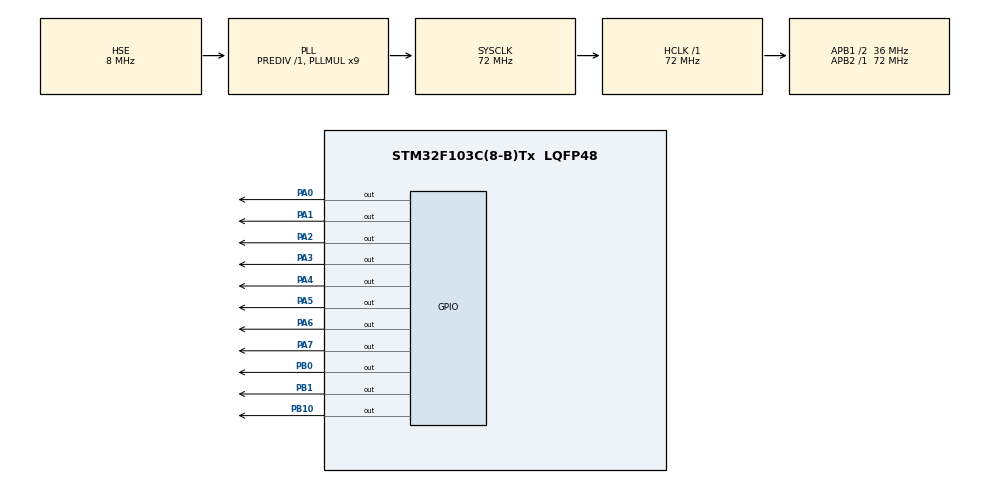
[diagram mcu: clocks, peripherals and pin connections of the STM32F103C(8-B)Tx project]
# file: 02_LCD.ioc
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Mcu.Family=STM32F1
Mcu.Name=STM32F103C(8-B)Tx
Mcu.Package=LQFP48
NVIC.PriorityGroup=NVIC_PRIORITYGROUP_4
PA0-WKUP.Signal=GPIO_Output
PA1.Signal=GPIO_Output
PA13.Mode=Serial_Wire
PA13.Signal=SYS_JTMS-SWDIO
PA14.Mode=Serial_Wire
PA14.Signal=SYS_JTCK-SWCLK
PA2.Signal=GPIO_Output
PA3.Signal=GPIO_Output
PA4.Signal=GPIO_Output
PA5.Signal=GPIO_Output
PA6.Signal=GPIO_Output
PA7.Signal=GPIO_Output
PB0.Signal=GPIO_Output
PB1.Signal=GPIO_Output
PB10.Signal=GPIO_Output
PD0-OSC_IN.Mode=HSE-External-Oscillator
PD0-OSC_IN.Signal=RCC_OSC_IN
PD1-OSC_OUT.Mode=HSE-External-Oscillator
PD1-OSC_OUT.Signal=RCC_OSC_OUT
ProjectManager.HeapSize=0x200
ProjectManager.StackSize=0x400
ProjectManager.TargetToolchain=MDK-ARM V5.32
RCC.AHBFreq_Value=72000000
RCC.APB1CLKDivider=RCC_HCLK_DIV2
RCC.APB1Freq_Value=36000000
RCC.APB1TimFreq_Value=72000000
RCC.APB2Freq_Value=72000000
RCC.APB2TimFreq_Value=72000000
RCC.HCLKFreq_Value=72000000
RCC.PLLMUL=RCC_PLL_MUL9
RCC.PLLSourceVirtual=RCC_PLLSOURCE_HSE
RCC.SYSCLKFreq_VALUE=72000000
RCC.SYSCLKSource=RCC_SYSCLKSOURCE_PLLCLK
RCC.USBFreq_Value=72000000
board=custom

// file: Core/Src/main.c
/* USER CODE BEGIN Header */
/**
  ******************************************************************************
  * @file           : main.c
  * @brief          : Main program body
  ******************************************************************************
  * @attention
  *
  * Copyright (c) 2025 STMicroelectronics.
  * All rights reserved.
  *
  * This software is licensed under terms that can be found in the LICENSE file
  * in the root directory of this software component.
  * If no LICENSE file comes with this software, it is provided AS-IS.
  *
  ******************************************************************************
  */
/* USER CODE END Header */
#include "main.h"

/* USER CODE BEGIN Includes */
#include "LCD.h"
/* USER CODE END Includes */

void SystemClock_Config(void);
static void MX_GPIO_Init(void);

int main(void)
{

  /* USER CODE BEGIN 1 */
	// Config LCD struct
	myLCD.PORT_DATA = GPIOA;
	myLCD.PORT_R = GPIOB;
	myLCD.D0 = GPIO_PIN_0;
	myLCD.D1 = GPIO_PIN_1;
	myLCD.D2 = GPIO_PIN_2;
	myLCD.D3 = GPIO_PIN_3;
	myLCD.D4 = GPIO_PIN_4;
	myLCD.D5 = GPIO_PIN_5;
	myLCD.D6 = GPIO_PIN_6;
	myLCD.D7 = GPIO_PIN_7;
	myLCD.RS = GPIO_PIN_0;
	myLCD.RW = GPIO_PIN_1;
	myLCD.E = GPIO_PIN_10;
  /* USER CODE END 1 */

  /* MCU Configuration--------------------------------------------------------*/

  /* Reset of all peripherals, Initializes the Flash interface and the Systick. */
  HAL_Init();

  /* Configure the system clock */
  SystemClock_Config();

  /* Initialize all configured peripherals */
  MX_GPIO_Init();
  /* USER CODE BEGIN 2 */
  LCD_init();
	LCD_Print("VO QUANG VINH");

	/* USER CODE END 2 */

  /* Infinite loop */
  while (1)
  {

  }
}

void SystemClock_Config(void)
{
  RCC_OscInitTypeDef RCC_OscInitStruct = {0};
  RCC_ClkInitTypeDef RCC_ClkInitStruct = {0};

  /** Initializes the RCC Oscillators according to the specified parameters
  * in the RCC_OscInitTypeDef structure.
  */
  RCC_OscInitStruct.OscillatorType = RCC_OSCILLATORTYPE_HSE;
  RCC_OscInitStruct.HSEState = RCC_HSE_ON;
  RCC_OscInitStruct.HSEPredivValue = RCC_HSE_PREDIV_DIV1;
  RCC_OscInitStruct.HSIState = RCC_HSI_ON;
  RCC_OscInitStruct.PLL.PLLState = RCC_PLL_ON;
  RCC_OscInitStruct.PLL.PLLSource = RCC_PLLSOURCE_HSE;
  RCC_OscInitStruct.PLL.PLLMUL = RCC_PLL_MUL9;
  if (HAL_RCC_OscConfig(&RCC_OscInitStruct) != HAL_OK)
  {
    Error_Handler();
  }

  /** Initializes the CPU, AHB and APB buses clocks
  */
  RCC_ClkInitStruct.ClockType = RCC_CLOCKTYPE_HCLK|RCC_CLOCKTYPE_SYSCLK
                              |RCC_CLOCKTYPE_PCLK1|RCC_CLOCKTYPE_PCLK2;
  RCC_ClkInitStruct.SYSCLKSource = RCC_SYSCLKSOURCE_PLLCLK;
  RCC_ClkInitStruct.AHBCLKDivider = RCC_SYSCLK_DIV1;
  RCC_ClkInitStruct.APB1CLKDivider = RCC_HCLK_DIV2;
  RCC_ClkInitStruct.APB2CLKDivider = RCC_HCLK_DIV1;

  if (HAL_RCC_ClockConfig(&RCC_ClkInitStruct, FLASH_LATENCY_2) != HAL_OK)
  {
    Error_Handler();
  }
}

static void MX_GPIO_Init(void)
{
  GPIO_InitTypeDef GPIO_InitStruct = {0};

  /* GPIO Ports Clock Enable */
  __HAL_RCC_GPIOD_CLK_ENABLE();
  __HAL_RCC_GPIOA_CLK_ENABLE();
  __HAL_RCC_GPIOB_CLK_ENABLE();

  /*Configure GPIO pin Output Level */
  HAL_GPIO_WritePin(GPIOA, GPIO_PIN_0|GPIO_PIN_1|GPIO_PIN_2|GPIO_PIN_3
                          |GPIO_PIN_4|GPIO_PIN_5|GPIO_PIN_6|GPIO_PIN_7, GPIO_PIN_RESET);

  /*Configure GPIO pin Output Level */
  HAL_GPIO_WritePin(GPIOB, GPIO_PIN_0|GPIO_PIN_1|GPIO_PIN_10, GPIO_PIN_RESET);

  /*Configure GPIO pins : PA0 PA1 PA2 PA3
                           PA4 PA5 PA6 PA7 */
  GPIO_InitStruct.Pin = GPIO_PIN_0|GPIO_PIN_1|GPIO_PIN_2|GPIO_PIN_3
                          |GPIO_PIN_4|GPIO_PIN_5|GPIO_PIN_6|GPIO_PIN_7;
  GPIO_InitStruct.Mode = GPIO_MODE_OUTPUT_PP;
  GPIO_InitStruct.Pull = GPIO_NOPULL;
  GPIO_InitStruct.Speed = GPIO_SPEED_FREQ_LOW;
  HAL_GPIO_Init(GPIOA, &GPIO_InitStruct);

  /*Configure GPIO pins : PB0 PB1 PB10 */
  GPIO_InitStruct.Pin = GPIO_PIN_0|GPIO_PIN_1|GPIO_PIN_10;
  GPIO_InitStruct.Mode = GPIO_MODE_OUTPUT_PP;
  GPIO_InitStruct.Pull = GPIO_NOPULL;
  GPIO_InitStruct.Speed = GPIO_SPEED_FREQ_LOW;
  HAL_GPIO_Init(GPIOB, &GPIO_InitStruct);

}

void Error_Handler(void)
{
  __disable_irq();
  while (1)
  {
  }
}
